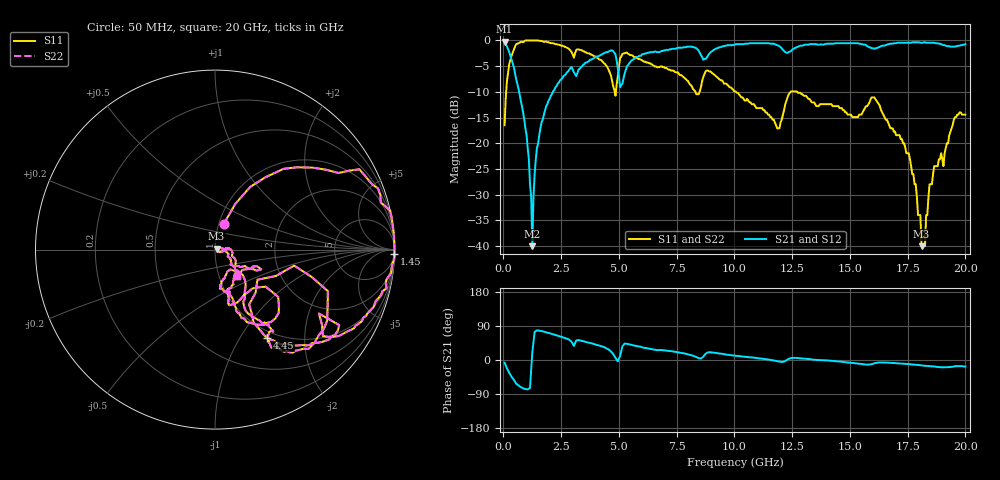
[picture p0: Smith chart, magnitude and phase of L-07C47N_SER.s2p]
#	mhz	s	ma	r	50
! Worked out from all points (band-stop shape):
!   400 points, 50 MHz to 20 GHz, reference 50 ohm
!   highest |S21| = -0.26 dB at 50 MHz (marker M1); lowest = -40.0 dB at 1.25 GHz (marker M2)
!   |S21| within 3 dB of the highest: 5.742 GHz to 8.604 GHz (2.862 GHz wide, 39.9 % of centre); 8.811 GHz to end of sweep (the widest 2 of 4)
!   lowest |S11| = -40.0 dB at 18.1 GHz (marker M3), VSWR 1.02, Z = 50.9 + j0.473 ohm
!   |S11| at or under -10 dB: 8.309 GHz to 8.491 GHz (181.6 MHz wide, 2.16 % of centre); 10.07 GHz to 12.43 GHz (2.363 GHz wide, 21 % of centre); 12.72 GHz to end of sweep (the widest 3 of 5)
!   |S22| runs from -40.0 to 0.0 dB; largest |S21 - S12| = 0
!   S11 on the Smith chart (normalised r, x): 50 MHz: 1.06, +0.31; 1.45 GHz: 0, -76; 4.45 GHz: 0.90, -1.32; 20 GHz: 1.22, -0.37
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50  0.15 71.2  0.97 -7.1  0.97 -7.1  0.15 71.2
250  0.59 49.7  0.77 -34.0  0.77 -34.0  0.59 49.7
1000  1 10.9  0.12 -77.2  0.12 -77.2  1 10.9
1200  1 5.1  0.03 -26.6  0.03 -26.6  1 5.1
1250  1 4.0  0.01 20.4  0.01 20.4  1 4.0
1300  1 2.2  0.03 47.3  0.03 47.3  1 2.2
1450  1 -1.5  0.09 78.3  0.09 78.3  1 -1.5
2150  0.94 -19.8  0.32 68.0  0.32 68.0  0.94 -19.8
3400  0.8 -39.3  0.56 50.3  0.56 50.3  0.8 -39.3
4450  0.57 -59.5  0.77 31.2  0.77 31.2  0.57 -59.5
4950  0.45 -11.4  0.54 -3.4  0.54 -3.4  0.45 -11.4
5350  0.76 -46.7  0.56 42.6  0.56 42.6  0.76 -46.7
6700  0.55 -55.6  0.77 26.2  0.77 26.2  0.55 -55.6
10050  0.32 -70.7  0.92 11.2  0.92 11.2  0.32 -70.7
11850  0.14 -60.4  0.9 -3.0  0.9 -3.0  0.14 -60.4
12450  0.32 -67.4  0.79 5.1  0.79 5.1  0.32 -67.4
13350  0.25 -70.6  0.92 1.5  0.92 1.5  0.25 -70.6
16700  0.15 -37.7  0.92 -7.3  0.92 -7.3  0.15 -37.7
17550  0.08 -18.9  0.95 -10.8  0.95 -10.8  0.08 -18.9
18100  0.01 27.7  0.95 -14.2  0.95 -14.2  0.01 27.7
18650  0.06 5.0  0.95 -17.1  0.95 -17.1  0.06 5.0
20000  0.19 -49.8  0.92 -17.3  0.92 -17.3  0.19 -49.8
